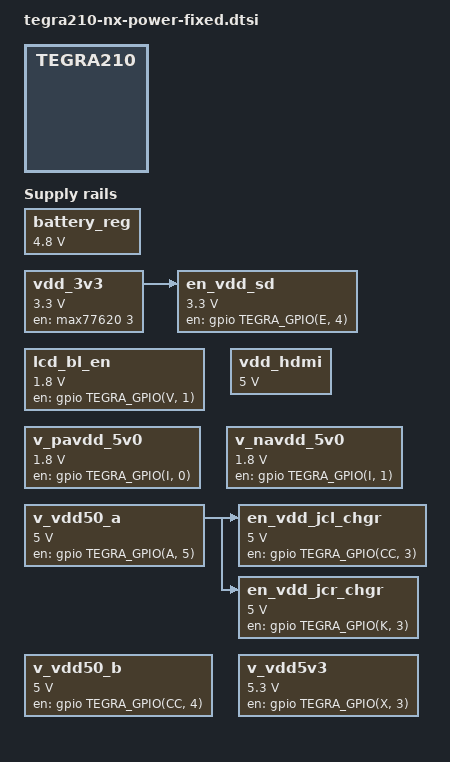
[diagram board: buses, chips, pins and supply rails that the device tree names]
/*
 * Copyright (c) 2019-2020, Billy Laws <blaws05@gmail.com>
 * Copyright (c) 2018-2023, CTCaer <ctcaer@gmail.com>
 *
 * This program is free software; you can redistribute it and/or modify
 * it under the terms of the GNU General Public License as published by
 * the Free Software Foundation; version 2 of the License.
 *
 * This program is distributed in the hope that it will be useful, but WITHOUT
 * ANY WARRANTY; without even the implied warranty of MERCHANTABILITY or
 * FITNESS FOR A PARTICULAR PURPOSE.  See the GNU General Public License for
 * more details.
 *
 */

#include <dt-bindings/gpio/tegra-gpio.h>

/ {
	regulators {
		compatible = "simple-bus";
		device_type = "fixed-regulators";
		#address-cells = <1>;
		#size-cells = <0>;

		battery_reg: regulator@0 {
			compatible = "regulator-fixed";
			reg = <0>;
			regulator-name = "vdd-ac-bat";
			regulator-min-microvolt = <4800000>;
			regulator-max-microvolt = <4800000>;
			regulator-always-on;
		};

		vdd_3v3: regulator@1 {
			compatible = "regulator-fixed-sync";
			reg = <1>;
			regulator-name = "vdd-3v3";
			regulator-min-microvolt = <3300000>;
			regulator-max-microvolt = <3300000>;
			regulator-always-on;
			gpio = <&max77620 3 0>;
			enable-active-high;
			regulator-enable-ramp-delay = <160>;
			regulator-disable-ramp-delay = <10000>;
		};

		max77620_gpio7: regulator@2 {
			compatible = "regulator-fixed-sync";
			reg = <2>;
			status = "disabled"; /* Only enabled on Odin */
			regulator-name = "max77620-gpio7";
			regulator-min-microvolt = <1200000>;
			regulator-max-microvolt = <1200000>;
			regulator-boot-on; /* Must be set for seamless display */
			gpio = <&max77620 7 0>;
			enable-active-high;
			regulator-enable-ramp-delay = <240>;
			regulator-disable-ramp-delay = <11340>;
			vin-supply = <&max77620_ldo0>;
		};

		lcd_bl_en: regulator@3 {
			compatible = "regulator-fixed-sync";
			reg = <3>;
			status = "okay"; /* Only enabled on Odin/Modin/Vali */
			regulator-name = "lcd-bl-en";
			regulator-min-microvolt = <1800000>;
			regulator-max-microvolt = <1800000>;
			gpio = <&gpio TEGRA_GPIO(V, 1) 0>;
			regulator-boot-on; /* Must be set for seamless display */
			enable-active-high;
		};

		en_vdd_sd: regulator@4 {
			compatible = "regulator-fixed-sync";
			reg = <4>;
			regulator-name = "en-vdd-sd";
			regulator-min-microvolt = <3300000>;
			regulator-max-microvolt = <3300000>;
			gpio = <&gpio TEGRA_GPIO(E, 4) 0>;
			enable-active-high;
			regulator-enable-ramp-delay = <472>;
			regulator-disable-ramp-delay = <4880>;
			vin-supply = <&vdd_3v3>;
		};

		vdd_hdmi: regulator@5 {
			compatible = "regulator-fixed";
			reg = <5>;
			regulator-name = "vdd-hdmi";
			regulator-min-microvolt = <5000000>;
			regulator-max-microvolt = <5000000>;
		};

		v_pavdd_5v0: regulator@7 {
			compatible = "regulator-fixed-sync";
			reg = <7>;
			status = "okay"; /* Only enabled on Odin/Modin/Vali */
			regulator-name = "v_pavdd_5v0";
			regulator-min-microvolt = <1800000>;
			regulator-max-microvolt = <1800000>;
			gpio = <&gpio TEGRA_GPIO(I, 0) 0>;
			enable-active-high;
			regulator-boot-on; /* Must be set for seamless display */
			regulator-enable-ramp-delay = <232>;
		};

		v_navdd_5v0: regulator@8 {
			compatible = "regulator-fixed-sync";
			reg = <8>;
			status = "okay"; /* Only enabled on Odin/Modin/Vali*/
			regulator-name = "v_navdd_5v0";
			regulator-min-microvolt = <1800000>;
			regulator-max-microvolt = <1800000>;
			gpio = <&gpio TEGRA_GPIO(I, 1) 0>;
			enable-active-high;
			regulator-boot-on; /* Must be set for seamless display */
			regulator-enable-ramp-delay = <232>;
		};

		/* Joycon/Fan power (battery) */
		v_vdd50_a: regulator@9 {
			compatible = "regulator-fixed-sync";
			reg = <9>;
			regulator-name = "v_vdd50_a";
			regulator-min-microvolt = <5000000>;
			regulator-max-microvolt = <5000000>;
			gpio = <&gpio TEGRA_GPIO(A, 5) 0>;
			enable-active-high;
		};

		/* Joycon/Fan power (usb) */
		v_vdd50_b: regulator@0xa {
			compatible = "regulator-fixed-sync";
			reg = <10>;
			status = "okay"; /* Only enabled on Odin/Modin */
			regulator-name = "v_vdd50_b";
			regulator-min-microvolt = <5000000>;
			regulator-max-microvolt = <5000000>;
			gpio = <&gpio TEGRA_GPIO(CC, 4) 0>;
			enable-active-high;
		};

		/* VBUS power */
		v_vdd5v3: regulator@0xb {
			compatible = "regulator-fixed-sync";
			reg = <11>;
			status = "okay"; /* Only enabled on Modin/Vali/Frig */
			regulator-name = "v_vdd5v3";
			regulator-min-microvolt = <5300000>;
			regulator-max-microvolt = <5300000>;
			gpio = <&gpio TEGRA_GPIO(X, 3) 0>;
			enable-active-high;
			regulator-enable-ramp-delay = <10000>;
		};

		vdd3v3_gc: regulator@0xc {
			compatible = "regulator-fixed-sync";
			status = "disabled"; /* Only on Odin */
			reg = <12>;
			regulator-name = "vdd3v3_gc";
			regulator-min-microvolt = <3300000>;
			regulator-max-microvolt = <3300000>;
			gpio = <&gpio TEGRA_GPIO(E, 5) 0>;
			enable-active-high;
			regulator-enable-ramp-delay = <472>;
			regulator-disable-ramp-delay = <4880>;
			vin-supply = <&vdd_3v3>;
		};

#if 0
		vdd_wlreg_on: regulator@0xd {
			compatible = "regulator-fixed";
			reg = <13>;
			regulator-name = "vdd-wlreg_on";
			regulator-min-microvolt = <1800000>;
			regulator-max-microvolt = <1800000>;
			gpio = <&gpio TEGRA_GPIO(H, 1) 0>;
			regulator-boot-on;
			regulator-always-on;
			enable-active-high;
		};
#endif

		en_vdd_jcl_chgr: regulator@0xe {
			compatible = "regulator-fixed";
			reg = <14>;
			status = "okay";
			regulator-name = "left-joycon-charger";
			regulator-min-microvolt = <5000000>;
			regulator-max-microvolt = <5000000>;
			gpio = <&gpio TEGRA_GPIO(CC, 3) GPIO_ACTIVE_HIGH>;
			enable-active-high;
			vin-supply = <&v_vdd50_a>;
		};

		en_vdd_jcr_chgr: regulator@0xf {
			compatible = "regulator-fixed";
			reg = <15>;
			status = "okay";
			regulator-name = "right-joycon-charger";
			regulator-min-microvolt = <5000000>;
			regulator-max-microvolt = <5000000>;
			gpio = <&gpio TEGRA_GPIO(K, 3) GPIO_ACTIVE_HIGH>;
			enable-active-high;
			vin-supply = <&v_vdd50_a>;
		};
	};
};
